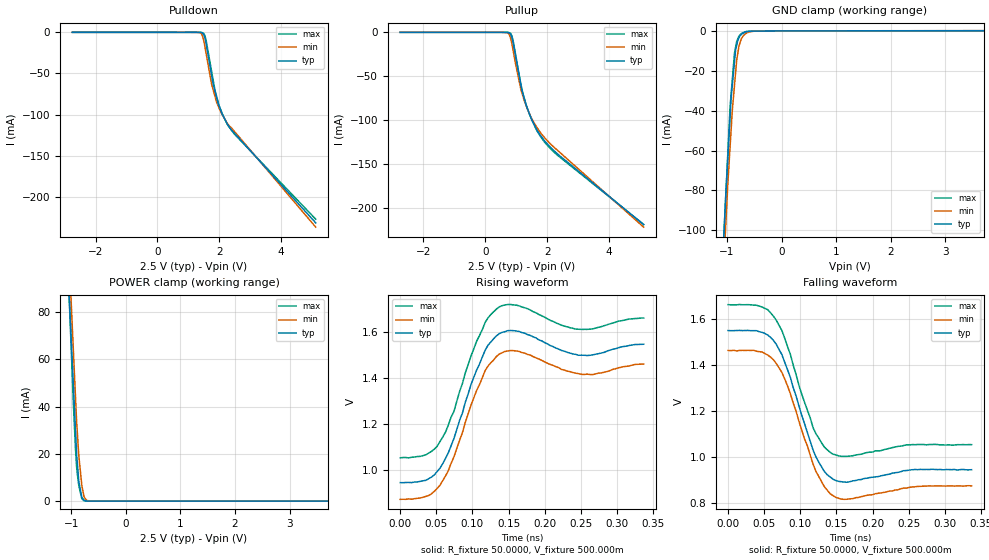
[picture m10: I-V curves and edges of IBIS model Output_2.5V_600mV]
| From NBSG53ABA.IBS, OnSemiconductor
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[Model] Output_2.5V_600mV
Model_type Output_ECL
Vref=0.50000V
Rref=50.0000ohms
Cref=0.00000pF
Vmeas=1.24000V
C_comp 500.0fF 500.0fF 500.0fF
[Model Spec]
Vmeas 1.2481235   1.1684165   1.35842
|Vref  0.50000V  0.3750V  0.6250V
|Rref  50ohms   50ohms   50ohms
|Cref  0.00pF   0.00pF   0.00pF
| variable typ   min   max
[Voltage Range]   2.50000V  2.37500V  2.62500V
[POWER Clamp Reference] 2.50000V  2.37500V  2.62500V
[Pullup Reference]   2.50000V  2.37500V  2.62500V
[Pulldown Reference]   2.50000V  2.37500V  2.62500V
[GND Clamp Reference]   0.00000V  0.00000V  0.00000V
[Temperature Range]  25   85   0
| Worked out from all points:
|   GND clamp passes 1 mA (typ) near -0.69 V on its own axis
|   POWER clamp passes 1 mA (typ) near -0.78 V on its own axis
|   falling waveform, R_fixture 50.0000, V_fixture 500.000m: 20-80 % time 37.5ps typ, 37.8ps min, 37.5ps max; typ from 1.55 V to 0.945 V
|   rising waveform, R_fixture 50.0000, V_fixture 500.000m: 20-80 % time 39.7ps typ, 40ps min, 39.4ps max; typ from 0.946 V to 1.55 V
[GND Clamp]
-2.5V     -951.2mA   -900.6mA   -924.6mA
-1.023V   -83.45mA   -98.42mA   -84.05mA
-982.5mV  -63.35mA   -76.39mA   -60.96mA
-942mV    -43.26mA   -58.15mA   -37.89mA
-921.8mV  -33.22mA   -49.04mA   -31.19mA
-901.4mV  -27.3mA    -39.9mA    -24.47mA
-861.1mV  -15.53mA   -27.25mA   -11.14mA
-841mV    -9.677mA   -20.96mA   -8.233mA
-820.9mV  -7.222mA   -14.63mA   -5.313mA
-780.5mV  -3.632mA   -7.756mA   -2.645mA
-679.2mV  -828.6uA   -1.919mA   -548.7uA
5V        51.31uA    169.4uA    52.08uA
[Pulldown]
-2.75V    51.12uA    49.58uA    42.24uA
1.413V    -178.5uA   -1.263mA   -70.42uA
1.474V    -1.157mA   -5.694mA   -614.2uA
1.517V    -3.926mA   -12.77mA   -2.431mA
1.582V    -14.77mA   -26.48mA   -10.49mA
1.752V    -51.26mA   -62.38mA   -46.47mA
1.865V    -71.58mA   -77.96mA   -70.58mA
1.913V    -78.89mA   -84.58mA   -77.22mA
2.099V    -99.49mA   -100.1mA   -98.78mA
2.285V    -112.8mA   -111.7mA   -113.2mA
2.482V    -122.1mA   -120mA     -123.3mA
5.125V    -231.8mA   -237mA     -227.4mA
[Pullup]
-2.75V    19.13uA    24.04uA    -15.37uA
699mV     -80.64uA   -317.8uA   -15.37uA
759.8mV   -323.7uA   -1.571mA   -159.2uA
820.3mV   -1.93mA    -6.778mA   -1.276mA
901.3mV   -11.62mA   -20.42mA   -9.31mA
1.159V    -60.98mA   -65.67mA   -59.79mA
1.26V     -75.04mA   -77.33mA   -74.55mA
1.477V    -97.01mA   -96.11mA   -97.23mA
1.679V    -111.4mA   -108.5mA   -112.3mA
1.801V    -117.9mA   -114.7mA   -119mA
2.338V    -138.2mA   -134mA     -139.7mA
5.125V    -218.4mA   -221.3mA   -218.2mA
[POWER Clamp]
-2.75V    926.1mA    971mA      1.09A
-1.061V   99.19mA    115.6mA    101.2mA
-1.02V    79.42mA    95.17mA    77.59mA
-959.7mV  49.81mA    64.53mA    42.2mA
-919.3mV  30.03mA    44.08mA    22.01mA
-898.7mV  19.95mA    33.65mA    14.32mA
-858.5mV  8.301mA    19.17mA    6.54mA
-803.3mV  1.627mA    6.59mA     976.4uA
-760mV    362.2uA    1.742mA    144.8uA
-702.2mV  45.4uA     228.8uA    46.41uA
-640.9mV  11.94uA    21.16uA    20.51uA
5.125V    0A         0A         0A
[Falling Waveform]
R_fixture = 50.0000
V_fixture = 500.000m
V_fixture_min = 375.000m
V_fixture_max = 625.000m
0s        1.55V      1.464V     1.663V
43.1ps    1.545V     1.458V     1.657V
66.6ps    1.491V     1.407V     1.596V
82.3ps    1.379V     1.308V     1.48V
117.6ps   1.03V      969.5mV    1.127V
133.3ps   936.4mV    870.8mV    1.043V
145ps     903.9mV    832.1mV    1.012V
164.6ps   890.1mV    816mV      1.003V
254.8ps   944.5mV    869.4mV    1.054V
337.1ps   944.6mV    874.4mV    1.054V
[Rising Waveform]
R_fixture = 50.0000
V_fixture = 500.000m
V_fixture_min = 375.000m
V_fixture_max = 625.000m
0s        946mV      873mV      1.054V
35.3ps    955.7mV    885.6mV    1.067V
54.9ps    1.008V     933.9mV    1.124V
74.5ps    1.139V     1.059V     1.257V
105.8ps   1.436V     1.347V     1.562V
121.5ps   1.544V     1.453V     1.663V
137.2ps   1.595V     1.506V     1.711V
164.6ps   1.604V     1.517V     1.716V
243ps     1.504V     1.423V     1.615V
337.1ps   1.548V     1.462V     1.663V
[Ramp]
| variable typ min max
dV/dt_r 361.975m/39.6335p 355.468m/40.1408p 365.955m/40.1615p
dV/dt_f 361.975m/37.2065p 355.468m/38.3371p 365.955m/37.9071p
R_load = 50.0000Ohms
